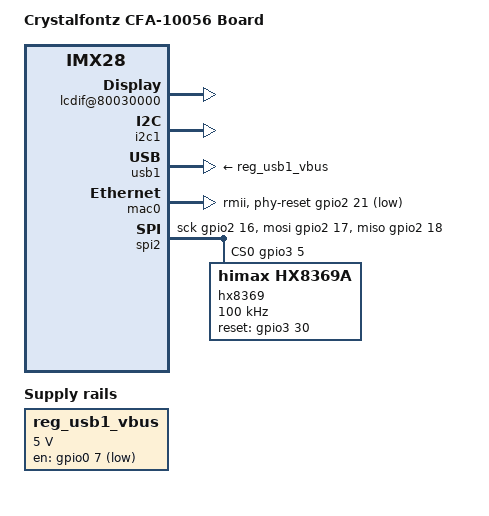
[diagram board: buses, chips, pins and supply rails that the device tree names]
/*
 * Copyright 2012 Free Electrons
 *
 * The code contained herein is licensed under the GNU General Public
 * License. You may obtain a copy of the GNU General Public License
 * Version 2 or later at the following locations:
 *
 * http://www.opensource.org/licenses/gpl-license.html
 * http://www.gnu.org/copyleft/gpl.html
 */

/*
 * The CFA-10056 is an expansion board for the CFA-10036 module, thus we
 * need to include the CFA-10036 DTS.
 */
/include/ "imx28-cfa10036.dts"

/ {
	model = "Crystalfontz CFA-10056 Board";
	compatible = "crystalfontz,cfa10056", "crystalfontz,cfa10036", "fsl,imx28";

	apb@80000000 {
		apbh@80000000 {
			pinctrl@80018000 {
				pinctrl-names = "default", "default";
				pinctrl-1 = <&hog_pins_cfa10056
					&hog_pins_cfa10056_pullup>;

				hog_pins_cfa10056: hog-10056@0 {
					reg = <0>;
					fsl,pinmux-ids = <
						0x0073 /* MX28_PAD_GPMI_D7__GPIO_0_7 */
						0x2153 /* MX28_PAD_SSP2_D5__GPIO_2_21 */
						0x3053 /* MX28_PAD_AUART1_TX__GPIO_3_5 */
					>;
					fsl,drive-strength = <0>;
					fsl,voltage = <1>;
					fsl,pull-up = <0>;
				};

				hog_pins_cfa10056_pullup: hog-10056-pullup@0 {
					reg = <0>;
					fsl,pinmux-ids = <
						0x2133 /* MX28_PAD_SSP2_D3__GPIO_2_19 */
						0x3183 /* MX28_PAD_I2C0_SCL__GPIO_3_24 */
						0x3193 /* MX28_PAD_I2C0_SDA__GPIO_3_25 */
						0x31a3 /* MX28_PAD_SAIF_SDATA0__GPIO_3_26 */
						0x31e3 /* MX28_PAD_LCD_RESET__GPIO_3_30 */
					>;
					fsl,drive-strength = <0>;
					fsl,voltage = <1>;
					fsl,pull-up = <1>;
				};

				spi2_pins_cfa10056: spi2-cfa10056@0 {
					reg = <0>;
					fsl,pinmux-ids = <
						0x2103 /* MX28_PAD_SSP2_SCK__GPIO_2_16 */
						0x2113 /* MX28_PAD_SSP2_CMD__GPIO_2_17 */
						0x2123 /* MX28_PAD_SSP2_D0__GPIO_2_18 */
					>;
					fsl,drive-strength = <1>;
					fsl,voltage = <1>;
					fsl,pull-up = <1>;
				};

				spi3_pins_cfa10056: spi3-cfa10056@0 {
					reg = <0>;
					fsl,pinmux-ids = <
						0x0183 /* MX28_PAD_GPMI_RDN__GPIO_0_24 */
						0x01c3 /* MX28_PAD_GPMI_RESETN__GPIO_0_28 */
						0x0113 /* MX28_PAD_GPMI_CE1N__GPIO_0_17 */
						0x01a3 /* MX28_PAD_GPMI_ALE__GPIO_0_26 */
						0x01b3 /* MX28_PAD_GPMI_CLE__GPIO_0_27 */
					>;
					fsl,drive-strength = <1>;
					fsl,voltage = <1>;
					fsl,pull-up = <1>;
				};

				lcdif_pins_cfa10056: lcdif-evk@0 {
					reg = <0>;
					fsl,pinmux-ids = <
						0x1181 /* MX28_PAD_LCD_RD_E__LCD_VSYNC */
						0x1191 /* MX28_PAD_LCD_WR_RWN__LCD_HSYNC */
						0x11a1 /* MX28_PAD_LCD_RS__LCD_DOTCLK */
						0x11b1 /* MX28_PAD_LCD_CS__LCD_ENABLE */
					>;
					fsl,drive-strength = <0>;
					fsl,voltage = <1>;
					fsl,pull-up = <0>;
				};
			};

			lcdif@80030000 {
				pinctrl-names = "default";
				pinctrl-0 = <&lcdif_24bit_pins_a
						 &lcdif_pins_cfa10056>;
				status = "okay";
			};
		};

		apbx@80040000 {
			i2c1: i2c@8005a000 {
				pinctrl-names = "default";
				pinctrl-0 = <&i2c1_pins_a>;
				status = "okay";
			};

			usbphy1: usbphy@8007e000 {
				status = "okay";
			};
		};
	};

	ahb@80080000 {
		usb1: usb@80090000 {
			vbus-supply = <&reg_usb1_vbus>;
			pinctrl-0 = <&usbphy1_pins_a>;
			pinctrl-names = "default";
			status = "okay";
		};
	};

	regulators {
		compatible = "simple-bus";

		reg_usb1_vbus: usb1_vbus {
			compatible = "regulator-fixed";
			regulator-name = "usb1_vbus";
			regulator-min-microvolt = <5000000>;
			regulator-max-microvolt = <5000000>;
			gpio = <&gpio0 7 1>;
		};
	};

	ahb@80080000 {
		mac0: ethernet@800f0000 {
			phy-mode = "rmii";
			pinctrl-names = "default";
			pinctrl-0 = <&mac0_pins_a>;
			phy-reset-gpios = <&gpio2 21 0>;
			phy-reset-duration = <100>;
			status = "okay";
		};
	};

	spi2 {
		compatible = "spi-gpio";
		pinctrl-names = "default";
		pinctrl-0 = <&spi2_pins_cfa10056>;
		status = "okay";
		gpio-sck = <&gpio2 16 0>;
		gpio-mosi = <&gpio2 17 0>;
		gpio-miso = <&gpio2 18 0>;
		cs-gpios = <&gpio3 5 0>;
		num-chipselects = <1>;
		#address-cells = <1>;
		#size-cells = <0>;

		hx8369: hx8369@0 {
			compatible = "himax,hx8369a", "himax,hx8369";
			reg = <0>;
			spi-max-frequency = <100000>;
			spi-cpol;
			spi-cpha;
			gpios-reset = <&gpio3 30 0>;
		};
	};

	fiq {
		compatible = "crystalfontz,cfa10049-fiq";
		interrupts = <50>;
	};
};
